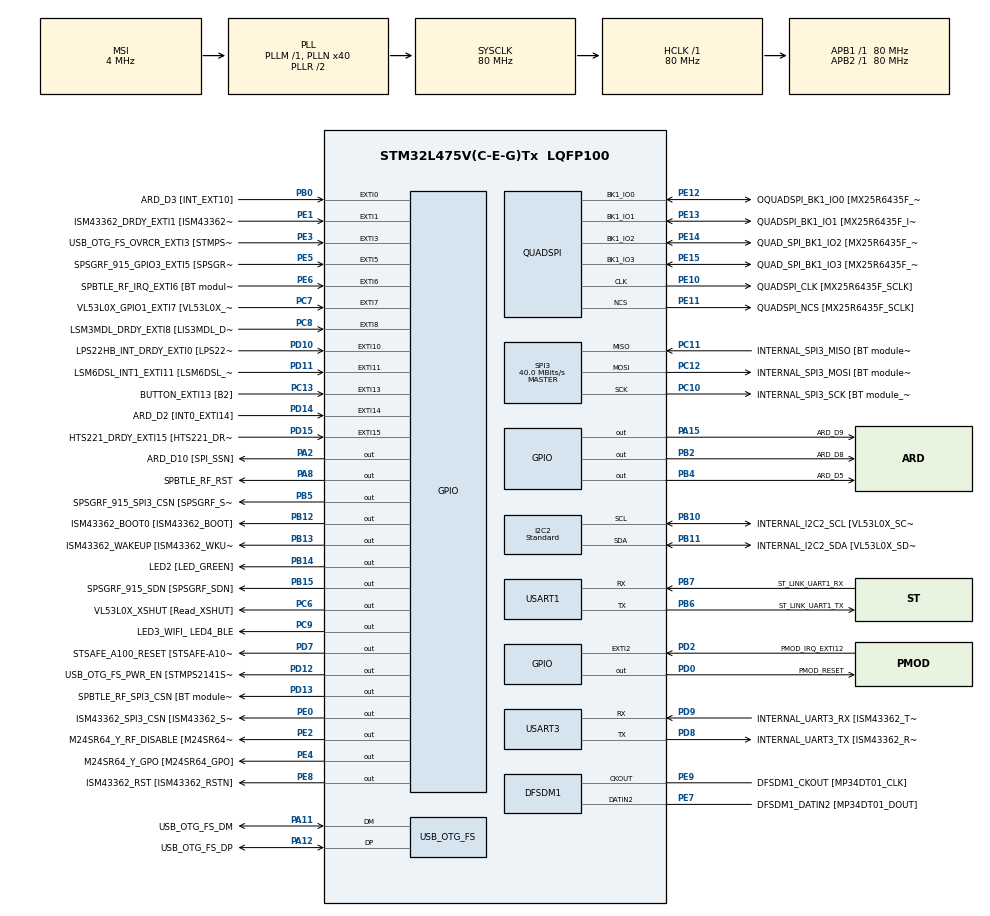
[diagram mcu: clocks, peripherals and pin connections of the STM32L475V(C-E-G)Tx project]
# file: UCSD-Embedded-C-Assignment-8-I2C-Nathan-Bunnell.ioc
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PD12.GPIO_Label=USB_OTG_FS_PWR_EN [STMPS2141STR_EN]
SPI3.Direction=SPI_DIRECTION_2LINES
SPI3.VirtualType=VM_MASTER
QUADSPI.ClockPrescaler=2
PB10.Mode=I2C
PC12.Signal=SPI3_MOSI
PB14.GPIO_Label=LED2 [LED_GREEN]
PC6.GPIO_Label=VL53L0X_XSHUT [Read_XSHUT]
PA6.GPIO_Label=ARD_D12 [SPI1_MISO]
PB6.GPIO_Label=ST_LINK_UART1_TX
PA15\ (JTDI).Signal=GPIO_Output
PC15-OSC32_OUT\ (PC15).Mode=LSE-External-Oscillator
PB13.Signal=GPIO_Output
PD6.GPIO_Label=PMOD_UART2_RX
PE6.GPIO_Label=SPBTLE_RF_IRQ_EXTI6 [BT module_SPI_IRQ]
RCC.SYSCLKSource=RCC_SYSCLKSOURCE_PLLCLK
PC14-OSC32_IN\ (PC14).Mode=LSE-External-Oscillator
SH.ADCx_IN16.0=ADC1_IN16
USART3.VirtualMode-Asynchronous=VM_ASYNC
PA14\ (JTCK-SWCLK).Signal=SYS_JTCK-SWCLK
PD4.Signal=USART2_RTS
I2C2.I2C_Speed_Mode=I2C_Standard
RCC.APB2TimFreq_Value=80000000
Dma.I2C2_TX.0.MemDataAlignment=DMA_MDATAALIGN_BYTE
PB6.Signal=USART1_TX
PC7.Signal=GPXTI7
PB6.Mode=Asynchronous
PC3.Signal=ADCx_IN4
PD0.Signal=GPIO_Output
PD8.Signal=USART3_TX
PE5.Signal=GPXTI5
PE1.Signal=GPXTI1
QUADSPI.FlashSize=23
Dma.I2C2_RX.1.Mode=DMA_NORMAL
NVIC.EXTI15_10_IRQn=true\:0\:0\:false\:false\:true\:true\:true
PB2.Signal=GPIO_Output
PD1.GPIO_Label=PMOD_SPI2_SCK
PB12.GPIO_Label=ISM43362_BOOT0 [ISM43362_BOOT]
PC4.GPIO_Label=ARD_A1 [ADC]
PE9.Signal=S_CKOUTDFSDM1
PB1.GPIO_Label=ARD_D6 [ADC1_IN6]
PE4.GPIO_Label=M24SR64_Y_GPO [M24SR64_GPO]
PE2.Signal=GPIO_Output
PA8.Signal=GPIO_Output
PE13.Mode=Single Bank
PE10.Signal=QUADSPI_CLK
PA0.Signal=UART4_TX
Mcu.Package=LQFP100
PB9.Signal=I2C1_SDA
PB1.Signal=ADCx_IN16
SPI3.Mode=SPI_MODE_MASTER
SH.ADCx_IN14.0=ADC1_IN14
PD12.Signal=GPIO_Output
PA10.Signal=USB_OTG_FS_ID
PE12.GPIO_Label=OQUADSPI_BK1_IO0 [MX25R6435F_IO0]
PC11.Mode=Full_Duplex_Master
Dma.I2C2_TX.0.Direction=DMA_MEMORY_TO_PERIPH
SH.ADCx_IN9.0=ADC1_IN9
Dma.I2C2_RX.1.PeriphInc=DMA_PINC_DISABLE
RCC.APB1TimFreq_Value=80000000
Dma.I2C2_RX.1.MemDataAlignment=DMA_MDATAALIGN_BYTE
NVIC.DMA1_Channel4_IRQn=true\:0\:0\:false\:false\:true\:false\:true
PA13\ (JTMS-SWDIO).Signal=SYS_JTMS-SWDIO
PE10.GPIO_Label=QUADSPI_CLK [MX25R6435F_SCLK]
PA4.GPIO_Label=ARD_D7
PD15.Signal=GPXTI15
PE12.Mode=Single Bank
Dma.I2C2_TX.0.Mode=DMA_NORMAL
PD9.GPIO_Label=INTERNAL_UART3_RX [ISM43362_TX]
PA9.GPIO_Label=USB_OTG_FS_VBUS [STMPS2141STR_OUT]
PC13.Signal=GPXTI13
PD3.Signal=USART2_CTS
PC6.Signal=GPIO_Output
PE10.Mode=Single Bank
PC2.Signal=ADCx_IN3
PB11.GPIO_Label=INTERNAL_I2C2_SDA [VL53L0X_SDA]
PD7.Signal=GPIO_Output
PD1.Signal=SPI2_SCK
PA11.GPIO_Label=USB_OTG_FS_DM
PC0.Signal=ADCx_IN1
PD10.Signal=GPXTI10
PB8.GPIO_Label=ARD_D15 [I2C1_SCL]
PA8.GPIO_Label=SPBTLE_RF_RST
PB11.Mode=I2C
PE8.GPIO_Label=ISM43362_RST [ISM43362_RSTN]
PA9.Signal=USB_OTG_FS_VBUS
PE9.GPIO_Label=DFSDM1_CKOUT [MP34DT01_CLK]
PD8.Mode=Asynchronous
PB10.Signal=I2C2_SCL
PB14.Signal=GPIO_Output
Dma.I2C2_RX.1.Instance=DMA1_Channel5
PA5.Signal=SPI1_SCK
PC12.Mode=Full_Duplex_Master
PE1.GPIO_Label=ISM43362_DRDY_EXTI1 [ISM43362_DATARDY]
PE14.Signal=QUADSPI_BK1_IO2
PE15.Signal=QUADSPI_BK1_IO3
Dma.I2C2_RX.1.Direction=DMA_PERIPH_TO_MEMORY
PB15.GPIO_Label=SPSGRF_915_SDN [SPSGRF_SDN]
PE8.Signal=GPIO_Output
Dma.I2C2_TX.0.Instance=DMA1_Channel4
PA1.GPIO_Label=ARD_D0 [UART4_RX]
SH.ADCx_IN4.0=ADC1_IN4
QUADSPI.FifoThreshold=4
PC7.GPIO_Label=VL53L0X_GPIO1_EXTI7 [VL53L0X_GPIO1]
PA13\ (JTMS-SWDIO).Mode=Serial_Wire
PA4.Signal=ADCx_IN9
PB5.Signal=GPIO_Output
PE13.GPIO_Label=QUADSPI_BK1_IO1 [MX25R6435F_IO1]
PA5.GPIO_Label=ARD_D13 [SPI1_SCK]
PD11.Signal=GPXTI11
PE5.GPIO_Label=SPSGRF_915_GPIO3_EXTI5 [SPSGRF_GPIO_3]
PC12.GPIO_Label=INTERNAL_SPI3_MOSI [BT module_SPI_MOSI] [ISM43362_MOSI]
PA11.Signal=USB_OTG_FS_DM
ProjectManager.HeapSize=0x200
NVIC.PriorityGroup=NVIC_PRIORITYGROUP_4
PE3.Signal=GPXTI3
PC3.GPIO_Label=ARD_A2 [ADC]
PB4\ (NJTRST).GPIO_Label=ARD_D5
Dma.I2C2_TX.0.MemInc=DMA_MINC_ENABLE
PD2.Signal=GPXTI2
PB0.Signal=GPXTI0
PC1.Signal=ADCx_IN2
PD2.GPIO_Label=PMOD_IRQ_EXTI12
PE15.Mode=Single Bank
Mcu.Family=STM32L4
RCC.CortexFreq_Value=80000000
NVIC.DMA1_Channel5_IRQn=true\:0\:0\:false\:false\:true\:false\:true
Dma.I2C2_TX.0.Priority=DMA_PRIORITY_LOW
PE11.GPIO_Label=QUADSPI_NCS [MX25R6435F_SCLK]
SH.ADCx_IN2.0=ADC1_IN2
PC10.Signal=SPI3_SCK
I2C2.Timing=0x10909CEC
PA0.GPIO_Label=ARD_D1 [UART4_TX]
PC0.GPIO_Label=ARD_A5 [ADC]
PD0.GPIO_Label=PMOD_RESET
PA11.Mode=Device_Only
PB0.GPIO_Label=ARD_D3 [INT_EXT10]
PC13.GPIO_Label=BUTTON_EXTI13 [B2]
PB13.GPIO_Label=ISM43362_WAKEUP [ISM43362_WKUP]
PB11.Signal=I2C2_SDA
PB15.Signal=GPIO_Output
PD9.Mode=Asynchronous
ProjectManager.StackSize=0x400
PB3\ (JTDO-TRACESWO).Signal=SYS_JTDO-SWO
PD13.Signal=GPIO_Output
PA12.Signal=USB_OTG_FS_DP
PE11.Mode=Single Bank
PD11.GPIO_Label=LSM6DSL_INT1_EXTI11 [LSM6DSL_INT1]
RCC.HCLKFreq_Value=80000000
SH.ADCx_IN3.0=ADC1_IN3
Dma.I2C2_RX.1.MemInc=DMA_MINC_ENABLE
PB5.PinState=GPIO_PIN_SET
RCC.AHBFreq_Value=80000000
RCC.HSE_VALUE=8000000
PE13.Signal=QUADSPI_BK1_IO1
PC11.GPIO_Label=INTERNAL_SPI3_MISO [BT module_SPI_MISO] [ISM43362_MISO]
PA10.GPIO_Label=USB_OTG_FS_ID
PB7.Signal=USART1_RX
PE4.Signal=GPIO_Output
QUADSPI.SampleShifting=QSPI_SAMPLE_SHIFTING_HALFCYCLE
PD7.GPIO_Label=STSAFE_A100_RESET [STSAFE-A100_RESET]
PB7.GPIO_Label=ST_LINK_UART1_RX
PD13.GPIO_Label=SPBTLE_RF_SPI3_CSN [BT module_SPI_CS]
PA6.Signal=SPI1_MISO
PD5.GPIO_Label=PMOD_UART2_TX
PA2.GPIO_Label=ARD_D10 [SPI_SSN]
USB_OTG_FS.VirtualMode=Device_Only
PE0.GPIO_Label=ISM43362_SPI3_CSN [ISM43362_SSN]
SH.ADCx_IN1.0=ADC1_IN1
PB5.GPIO_Label=SPSGRF_915_SPI3_CSN [SPSGRF_SPI_CS]
Dma.Request1=I2C2_RX
PC5.Signal=ADCx_IN14
PD3.GPIO_Label=PMOD_UART2_CTS
PE7.Signal=S_DATAIN2DFSDM1
PD6.Signal=USART2_RX
Dma.Request0=I2C2_TX
PE2.GPIO_Label=M24SR64_Y_RF_DISABLE [M24SR64_RFDIS]
PC2.GPIO_Label=ARD_A3 [ADC]
RCC.PLLSAI1N=24
PA3.Signal=S_TIM2_CH4
RCC.MSI_VALUE=4000000
PA14\ (JTCK-SWCLK).Mode=Serial_Wire
SH.ADCx_IN13.0=ADC1_IN13
PD15.GPIO_Label=HTS221_DRDY_EXTI15 [HTS221_DRDY]
PB9.GPIO_Label=ARD_D14 [I2C1_SDA]
PC10.GPIO_Label=INTERNAL_SPI3_SCK [BT module_SPI_SCLK] [ISM43362_SCK]
PC9.GPIO_Label=LED3_WIFI_ LED4_BLE
PC11.Signal=SPI3_MISO
PC8.Signal=GPXTI8
PC4.Signal=ADCx_IN13
PC10.Mode=Full_Duplex_Master
SH.S_DATAIN2DFSDM1.0=DFSDM1_DATIN2,PDM_SPI_Input_from_ch12_and_Internal_Clock
PE14.GPIO_Label=QUAD_SPI_BK1_IO2 [MX25R6435F_IO2]
PC15-OSC32_OUT\ (PC15).Signal=RCC_OSC32_OUT
PD9.Signal=USART3_RX
PD5.Signal=USART2_TX
PA14\ (JTCK-SWCLK).GPIO_Label=SYS_JTCK_SWCLK
PB3\ (JTDO-TRACESWO).GPIO_Label=SYS_JTD0_SWO
Dma.I2C2_TX.0.PeriphInc=DMA_PINC_DISABLE
PA12.GPIO_Label=USB_OTG_FS_DP
PD8.GPIO_Label=INTERNAL_UART3_TX [ISM43362_RX]
PC8.GPIO_Label=LSM3MDL_DRDY_EXTI8 [LIS3MDL_DRDY]
USART1.VirtualMode-Asynchronous=VM_ASYNC
PE0.PinState=GPIO_PIN_SET
PE15.GPIO_Label=QUAD_SPI_BK1_IO3 [MX25R6435F_IO3]
ProjectManager.TargetToolchain=STM32CubeIDE
PB10.GPIO_Label=INTERNAL_I2C2_SCL [VL53L0X_SCL]
RCC.USBFreq_Value=48000000
PD10.GPIO_Label=LPS22HB_INT_DRDY_EXTI0 [LPS22HB_INT_DRDY] 
PE11.Signal=QUADSPI_NCS
PA1.Signal=UART4_RX
Dma.I2C2_RX.1.PeriphDataAlignment=DMA_PDATAALIGN_BYTE
board=B-L475E-IOT01A1
RCC.VCOOutputFreq_Value=160000000
RCC.APB2Freq_Value=80000000
SPI3.CalculateBaudRate=40.0 MBits/s
PA13\ (JTMS-SWDIO).GPIO_Label=SYS_JTMS_SWDIO
PD4.GPIO_Label=PMOD_UART2_RTS
PE14.Mode=Single Bank
SH.S_CKOUTDFSDM1.0=DFSDM1_CKOUT,CKOUT
SH.S_CKOUTDFSDM1.1=DFSDM1_CKOUT,PDM_SPI_Input_from_ch12_and_Internal_Clock
RCC.ADCFreq_Value=48000000
PC1.GPIO_Label=ARD_A4 [ADC]
PD14.GPIO_Label=ARD_D2 [INT0_EXTI14]
PE6.Signal=GPXTI6
PA15\ (JTDI).GPIO_Label=ARD_D9
I2C2.Speed=100
Mcu.Name=STM32L475V(C-E-G)Tx
PE0.Signal=GPIO_Output
PE7.GPIO_Label=DFSDM1_DATIN2 [MP34DT01_DOUT]
PE12.Signal=QUADSPI_BK1_IO0
PA2.Signal=GPIO_Output
PD14.Signal=GPXTI14
RCC.SYSCLKFreq_VALUE=80000000
PA7.GPIO_Label=ARD_D11 [SPI1_MOSI]
PA12.Mode=Device_Only
PC13.GPIO_ModeDefaultEXTI=GPIO_MODE_IT_FALLING
PC5.GPIO_Label=ARD_A0 [ADC]
PC14-OSC32_IN\ (PC14).Signal=RCC_OSC32_IN
PB7.Mode=Asynchronous
NVIC.EXTI9_5_IRQn=true\:0\:0\:false\:false\:true\:true\:true
PB2.GPIO_Label=ARD_D8
SH.S_TIM2_CH4.0=TIM2_CH4
NVIC.I2C2_EV_IRQn=true\:0\:0\:false\:false\:true\:true\:true
RCC.HSI_VALUE=16000000
RCC.PLLN=40
Dma.I2C2_TX.0.PeriphDataAlignment=DMA_PDATAALIGN_BYTE
PB8.Signal=I2C1_SCL
PE3.GPIO_Label=USB_OTG_FS_OVRCR_EXTI3 [STMPS2141STR_FAULT]
PC9.Signal=GPIO_Output
Dma.I2C2_RX.1.Priority=DMA_PRIORITY_LOW
PD13.PinState=GPIO_PIN_SET
RCC.APB1Freq_Value=80000000
PB12.Signal=GPIO_Output
PA3.GPIO_Label=ARD_D4
PA7.Signal=SPI1_MOSI
PB4\ (NJTRST).Signal=GPIO_Output

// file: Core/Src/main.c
/* USER CODE BEGIN Header */
/**
  ******************************************************************************
  * @file           : main.c
  * @brief          : Main program body
  ******************************************************************************
  * @attention
  *
  * <h2><center>&copy; Copyright (c) 2021 STMicroelectronics.
  * All rights reserved.</center></h2>
  *
  * This software component is licensed by ST under BSD 3-Clause license,
  * the "License"; You may not use this file except in compliance with the
  * License. You may obtain a copy of the License at:
  *                        opensource.org/licenses/BSD-3-Clause
  *
  ******************************************************************************
  */
/* USER CODE END Header */
#include "main.h"

/* USER CODE BEGIN Includes */

#include <stdio.h>
#include <string.h>

/* USER CODE END Includes */

/* USER CODE BEGIN PD */

// Define R/W addresses for temp sensor
#define HTS221_READ_ADDRESS 0xbf
#define HTS221_WRITE_ADDRESS 0xbe
#define LPS22HB_READ_ADDRESS 0xbb
#define LPS22HB_WRITE_ADDRESS 0xba

/* USER CODE END PD */

DFSDM_Channel_HandleTypeDef hdfsdm1_channel1;

I2C_HandleTypeDef hi2c2;
DMA_HandleTypeDef hdma_i2c2_tx;
DMA_HandleTypeDef hdma_i2c2_rx;

QSPI_HandleTypeDef hqspi;

SPI_HandleTypeDef hspi3;

UART_HandleTypeDef huart1;
UART_HandleTypeDef huart3;

PCD_HandleTypeDef hpcd_USB_OTG_FS;

/* USER CODE BEGIN PV */

// Global calibration variable declarations
uint8_t H0_rH_Value;
uint8_t H1_rH_Value;
int16_t H0_T0_OUT_Value;
int16_t H1_T0_OUT_Value;

uint8_t T0_degC_Value;
uint8_t T1_degC_Value;
uint8_t T0_degC;
uint8_t T1_degC;
int16_t T0_OUT_Value;
int16_t T1_OUT_Value;

/* USER CODE END PV */

void SystemClock_Config(void);
static void MX_GPIO_Init(void);
static void MX_DMA_Init(void);
static void MX_DFSDM1_Init(void);
static void MX_I2C2_Init(void);
static void MX_QUADSPI_Init(void);
static void MX_SPI3_Init(void);
static void MX_USART1_UART_Init(void);
static void MX_USART3_UART_Init(void);
static void MX_USB_OTG_FS_PCD_Init(void);
/* USER CODE BEGIN PFP */

static void HTS221_pwr_en(void);
static void HTS221_get_cal_data(void);
static void HTS221_get_sensor_data(void);
static void LPS22HB_get_sensor_data(void);

/* USER CODE END PFP */

/* USER CODE BEGIN 0 */

static void HTS221_pwr_en(void)
{
	// Configure control register 1 (CTRL_REG1, 0x20) bit 7 to enable one-shot
    uint8_t ctrlReg1 = 0x20;
    uint8_t CTRL_REG2_Value[] = {ctrlReg1, (1 << 7)};

    // Send the target register to the device
    HAL_I2C_Master_Transmit(&hi2c2, HTS221_WRITE_ADDRESS, CTRL_REG2_Value, sizeof(CTRL_REG2_Value), 1000);

}

static void HTS221_get_cal_data(void)
{
    /*****************************************************************************************************************/
    // Request humidity and temperature calibration data stored in registers 0x30 to 0x3F
    // Reference pg. 26 of data sheet (https://www.st.com/resource/en/datasheet/hts221.pdf)
    //   for register names and definitions
    // Reference tech note TN1218 on calibration procedures
    // https://www.st.com/resource/en/technical_note/dm00208001-interpreting-humidity-and-temperature-readings-in-the-hts221-digital-humidity-sensor-stmicroelectronics.pdf

    /*****************************************************************************************************************/
    // Humidity calibration values

    // Register H0_rh_x2, address 0x30. Divide register value by 2 for calibration value
    uint8_t H0_rH_Address = 0x30;
	HAL_I2C_Master_Transmit(&hi2c2, HTS221_WRITE_ADDRESS, &H0_rH_Address, sizeof(H0_rH_Address), 1000);
	H0_rH_Value = 0xff; // Junk default value
	HAL_I2C_Master_Receive(&hi2c2, HTS221_READ_ADDRESS, (uint8_t *)&H0_rH_Value, sizeof(H0_rH_Value), 1000);
	H0_rH_Value = H0_rH_Value / 2;

	// Register H1_rh_x2, address 0x31. Divide register value by 2 for calibration value
	uint8_t H1_rH_Address = 0x31;
	HAL_I2C_Master_Transmit(&hi2c2, HTS221_WRITE_ADDRESS, &H1_rH_Address, sizeof(H1_rH_Address), 1000);
	H1_rH_Value = 0xff; // Junk default value
	HAL_I2C_Master_Receive(&hi2c2, HTS221_READ_ADDRESS, (uint8_t *)&H1_rH_Value, sizeof(H1_rH_Value), 1000);
	H1_rH_Value = H1_rH_Value / 2;

	// Register H0_T0_OUT, addresses 0x36 and 0x37
	uint8_t H0_T0_OUT_Address = 0x36 | 0x80;
	HAL_I2C_Master_Transmit(&hi2c2, HTS221_WRITE_ADDRESS, &H0_T0_OUT_Address, sizeof(H0_T0_OUT_Address), 1000);
	H0_T0_OUT_Value = 0xffff; // Junk default value
	HAL_I2C_Master_Receive(&hi2c2, HTS221_READ_ADDRESS, (uint8_t *)&H0_T0_OUT_Value, sizeof(H0_T0_OUT_Value), 1000);

	// Register H1_T0_OUT, addresses 0x3A and 0x3B
	uint8_t H1_T0_OUT_Address = 0x3A | 0x80;
	HAL_I2C_Master_Transmit(&hi2c2, HTS221_WRITE_ADDRESS, &H1_T0_OUT_Address, sizeof(H1_T0_OUT_Address), 1000);
	H1_T0_OUT_Value = 0xffff; // Junk default value
	HAL_I2C_Master_Receive(&hi2c2, HTS221_READ_ADDRESS, (uint8_t *)&H1_T0_OUT_Value, sizeof(H1_T0_OUT_Value), 1000);

    /*****************************************************************************************************************/
    // Temperature calibration values

    // Register T0_degC_x8, address 0x32. Divide register value by 8 for calibration value
    uint8_t T0_degC_Address = 0x32;
	HAL_I2C_Master_Transmit(&hi2c2, HTS221_WRITE_ADDRESS, &T0_degC_Address, sizeof(T0_degC_Address), 1000);
	T0_degC_Value = 0xff; // Junk default value
	HAL_I2C_Master_Receive(&hi2c2, HTS221_READ_ADDRESS, (uint8_t *)&T0_degC_Value, sizeof(T0_degC_Value), 1000);
	T0_degC_Value = T0_degC_Value / 8;

    // Register T1_degC_x8, address 0x33. Divide register value by 8 for calibration value
    uint8_t T1_degC_Address = 0x33;
	HAL_I2C_Master_Transmit(&hi2c2, HTS221_WRITE_ADDRESS, &T1_degC_Address, sizeof(T1_degC_Address), 1000);
	T1_degC_Value = 0xff; // Junk default value
	HAL_I2C_Master_Receive(&hi2c2, HTS221_READ_ADDRESS, (uint8_t *)&T1_degC_Value, sizeof(T1_degC_Value), 1000);
	T1_degC_Value = T1_degC_Value / 8;

    // Register T1/T0 msb, address 0x35. Mask bits (0 & 1), (2 & 3) to get values of T0_degC & T1_degC
    uint8_t T1_T0_msb_Address = 0x35;
	HAL_I2C_Master_Transmit(&hi2c2, HTS221_WRITE_ADDRESS, &T1_T0_msb_Address, sizeof(T1_T0_msb_Address), 1000);
	uint8_t T1_T0_msb_Value = 0xff; // Junk default value
	HAL_I2C_Master_Receive(&hi2c2, HTS221_READ_ADDRESS, (uint8_t *)&T1_T0_msb_Value, sizeof(T1_T0_msb_Value), 1000);
	T0_degC = (T1_T0_msb_Value && (0b0011));
    T1_degC = (T1_T0_msb_Value && (0b1100));

    // Register T0_OUT, addresses 0x3C and 0x3D
	uint8_t T0_OUT_Address = 0x3C | 0x80;
	HAL_I2C_Master_Transmit(&hi2c2, HTS221_WRITE_ADDRESS, &T0_OUT_Address, sizeof(T0_OUT_Address), 1000);
	T0_OUT_Value = 0xffff; // Junk default value
	HAL_I2C_Master_Receive(&hi2c2, HTS221_READ_ADDRESS, (uint8_t *)&T0_OUT_Value, sizeof(T0_OUT_Value), 1000);

    // Register T1_OUT, addresses 0x3C and 0x3D
	uint8_t T1_OUT_Address = 0x3C | 0x80;
	HAL_I2C_Master_Transmit(&hi2c2, HTS221_WRITE_ADDRESS, &T1_OUT_Address, sizeof(T1_OUT_Address), 1000);
	T1_OUT_Value = 0xffff; // Junk default value
	HAL_I2C_Master_Receive(&hi2c2, HTS221_READ_ADDRESS, (uint8_t *)&T1_OUT_Value, sizeof(T1_OUT_Value), 1000);

}

static void HTS221_get_sensor_data(void)
{
    // Large char buffer for strings sent over the console
    char buffer[100] = {0};

	// Configure control register 2 (CTRL_REG2, 0x21) bit 0 to enable one-shot
    uint8_t CTRL_REG2_Address = 0x21;
    uint8_t CTRL_REG2_Value[] = {CTRL_REG2_Address, (1 << 0)};

    // Send the target register to the device
    HAL_I2C_Master_Transmit(&hi2c2, HTS221_WRITE_ADDRESS, CTRL_REG2_Value, sizeof(CTRL_REG2_Value), 1000);

    // Define status register (STATUS_REG2, 0x27) bit 0 to monitor for new sample available
    uint8_t STATUS_Address = 0x27;
    uint8_t STATUS_Value = 0;

    // Print status message to console
	snprintf(buffer, sizeof(buffer), "\tRequesting new sample...");
	HAL_UART_Transmit(&huart1, (uint8_t*) buffer, strlen(buffer), 1000);

    // Loiter for a bit to allow time for conversion to complete and be made available
    uint8_t count = 0;
    while (count < 10)  // arbitrary "long enough" delay value
    {
        // Send the address of the status register
        HAL_I2C_Master_Transmit(&hi2c2, HTS221_WRITE_ADDRESS, &STATUS_Address, sizeof(STATUS_Address), 1000);

        // Read back the value of the status register
        HAL_I2C_Master_Receive(&hi2c2, HTS221_READ_ADDRESS, (uint8_t *)&STATUS_Value, sizeof(STATUS_Value), 1000);

        // If the new sample is ready, break out of while-loop...
        if (STATUS_Value & 0x01)
        {
            break;
        }

        // Update status message on console with '.' to indicate processing
		snprintf(buffer, sizeof(buffer), ".");
		HAL_UART_Transmit(&huart1, (uint8_t*) buffer, strlen(buffer), 1000);

        // Else wait for a bit, increment the counter, and keep looping
        HAL_Delay(100);
        count++;
    }

    // Read the values of the humidity register H_OUT, address 0x28 and 0x29
	uint8_t H_OUT_Address = 0x28 | 0x80;
	HAL_I2C_Master_Transmit(&hi2c2, HTS221_WRITE_ADDRESS, &H_OUT_Address, sizeof(H_OUT_Address), 1000);
	int16_t H_OUT_Value = 0xbeef; // Junk default value
	HAL_I2C_Master_Receive(&hi2c2, HTS221_READ_ADDRESS, (uint8_t *)&H_OUT_Value, sizeof(H_OUT_Value), 1000);

	// Calculate and print value of humidity in %rH.
	int16_t humidityValue = (((H1_rH_Value - H0_rH_Value) * (H_OUT_Value - H0_T0_OUT_Value))/(H1_T0_OUT_Value - H0_T0_OUT_Value)) + (H0_rH_Value);
	snprintf(buffer, sizeof(buffer), "\n\tHumidity: %d%%rH\n", humidityValue);
	HAL_UART_Transmit(&huart1, (uint8_t*) buffer, strlen(buffer), 1000);

	// Read the values of the temperature register T_OUT, address 0x2A and 0x2B
	uint8_t T_OUT_Address = 0x28 | 0x80;
	HAL_I2C_Master_Transmit(&hi2c2, HTS221_WRITE_ADDRESS, &T_OUT_Address, sizeof(T_OUT_Address), 1000);
	int16_t T_OUT_Value = 0xbeef; // Junk default value
	HAL_I2C_Master_Receive(&hi2c2, HTS221_READ_ADDRESS, (uint8_t *)&T_OUT_Value, sizeof(T_OUT_Value), 1000);

    // Calculate and print value of temperature in degC.
	int16_t temperatureValue = (((T1_degC_Value - T0_degC_Value) * (T_OUT_Value - T0_OUT_Value))/(T1_OUT_Value - T0_OUT_Value)) + (T0_degC_Value);
	snprintf(buffer, sizeof(buffer), "\tTemperature: %ddegC\n", temperatureValue);
	HAL_UART_Transmit(&huart1, (uint8_t*) buffer, strlen(buffer), 1000);

}

static void LPS22HB_get_sensor_data(void)
{
	/*****************************************************************************************************************/
	// To read from the on-board pressure sensor, we will configure the control registers to one-shot mode and then
	//   read the pressure value in three byte-sized chunks, shifting them into a 32-bit word that is then converted
	//   to units of hPa, as described in the module datasheet, https://www.st.com/resource/en/datasheet/dm00140895.pdf
	/*****************************************************************************************************************/

	// Large char buffer for strings sent over the console
	char buffer[100] = {0};

	// Register CTRL_REG2, address 0x11. Configures sensor module for one-shot mode
	uint8_t CTRL_REG2_Address = 0x11;
	uint8_t CTRL_REG2_Value[] = {CTRL_REG2_Address, (1 << 0)};
	HAL_I2C_Master_Transmit(&hi2c2, LPS22HB_WRITE_ADDRESS, CTRL_REG2_Value, sizeof(CTRL_REG2_Value), 1000);

	// Register STATUS, address 0x27. Bit 0 to monitor for new pressure sample available
	uint8_t STATUS_Address = 0x27;
	uint8_t STATUS_Value = 0;

	// Print status message to console
	snprintf(buffer, sizeof(buffer), "\tRequesting new sample...");
	HAL_UART_Transmit(&huart1, (uint8_t*) buffer, strlen(buffer), 1000);

	// Loiter for a bit to allow time for conversion to complete and be made available
	while (1)
	{
		// Send the address of the status register
		HAL_I2C_Master_Transmit(&hi2c2, LPS22HB_WRITE_ADDRESS, &STATUS_Address, sizeof(STATUS_Address), 1000);

		// Read back the value of the status register
		HAL_I2C_Master_Receive(&hi2c2, LPS22HB_READ_ADDRESS, (uint8_t *)&STATUS_Value, sizeof(STATUS_Value), 1000);

		// If the new sample is ready, break out of while-loop...
		if (STATUS_Value & 0x01)
		{
			break;
		}

		// Update status message on console with '.' to indicate processing
		snprintf(buffer, sizeof(buffer), ".");
		HAL_UART_Transmit(&huart1, (uint8_t*) buffer, strlen(buffer), 1000);

		// Else wait for a bit, increment the counter, and keep looping
		HAL_Delay(100);
	}

	// Register PRESS_OUT_XL, address 0x28. Pressure output value (LSB)
	uint8_t PRESS_OUT_XL_Address = 0x28;
	HAL_I2C_Master_Transmit(&hi2c2, LPS22HB_WRITE_ADDRESS, &PRESS_OUT_XL_Address, sizeof(PRESS_OUT_XL_Address), 1000);
	uint8_t PRESS_OUT_XL_Value = 0xff; // Junk default value
	HAL_I2C_Master_Receive(&hi2c2, LPS22HB_READ_ADDRESS, (uint8_t *)&PRESS_OUT_XL_Value, sizeof(PRESS_OUT_XL_Value), 1000);

	// Register PRESS_OUT_L, address 0x29. Pressure output value (mid part)
	uint8_t PRESS_OUT_L_Address = 0x29;
	HAL_I2C_Master_Transmit(&hi2c2, LPS22HB_WRITE_ADDRESS, &PRESS_OUT_L_Address, sizeof(PRESS_OUT_L_Address), 1000);
	uint8_t PRESS_OUT_L_Value = 0xff; // Junk default value
	HAL_I2C_Master_Receive(&hi2c2, LPS22HB_READ_ADDRESS, (uint8_t *)&PRESS_OUT_L_Value, sizeof(PRESS_OUT_L_Value), 1000);

	// Register PRESS_OUT_XL, address 0x2A. Pressure output value (MSB)
	uint8_t PRESS_OUT_H_Address = 0x2A;
	HAL_I2C_Master_Transmit(&hi2c2, LPS22HB_WRITE_ADDRESS, &PRESS_OUT_H_Address, sizeof(PRESS_OUT_H_Address), 1000);
	uint8_t PRESS_OUT_H_Value = 0xff; // Junk default value
	HAL_I2C_Master_Receive(&hi2c2, LPS22HB_READ_ADDRESS, (uint8_t *)&PRESS_OUT_H_Value, sizeof(PRESS_OUT_H_Value), 1000);

	// Variable to hold raw pressure output from sensor. Shift each PRESS_OUT_x variable in as directed in datasheet
	uint32_t PRESS_OUT_Value = (PRESS_OUT_XL_Value << 0);
	PRESS_OUT_Value = PRESS_OUT_Value | (PRESS_OUT_L_Value << 8);
	PRESS_OUT_Value = PRESS_OUT_Value | (PRESS_OUT_H_Value << 16);

	// Divide by 4096 as per datasheet to get units hPa and print results to console
	uint32_t pressureValue = PRESS_OUT_Value / 4096;
	snprintf(buffer, sizeof(buffer), "\n\tPressure: %luhPa\n", pressureValue);
	HAL_UART_Transmit(&huart1, (uint8_t*) buffer, strlen(buffer), 1000);

}

/* USER CODE END 0 */

int main(void)
{

  /* MCU Configuration--------------------------------------------------------*/

  /* Reset of all peripherals, Initializes the Flash interface and the Systick. */
  HAL_Init();

  /* Configure the system clock */
  SystemClock_Config();

  /* Initialize all configured peripherals */
  MX_GPIO_Init();
  MX_DMA_Init();
  MX_DFSDM1_Init();
  MX_I2C2_Init();
  MX_QUADSPI_Init();
  MX_SPI3_Init();
  MX_USART1_UART_Init();
  MX_USART3_UART_Init();
  MX_USB_OTG_FS_PCD_Init();
  /* USER CODE BEGIN 2 */

  // Enable the HTS221 PD bit in CR1 to allow collection of samples
  HTS221_pwr_en();

  // Get the calibration data stored in the HTS221 non-volatile memory
  HTS221_get_cal_data();

  // Header info for CLI
  char* cliHeader = "\nsimpleCLI Interface v0.4\n------------------------------\n";
  HAL_UART_Transmit(&huart1, (uint8_t*) cliHeader, strlen(cliHeader), 1000);

  /* USER CODE END 2 */

  /* Infinite loop */
  while (1)
  {

    /* USER CODE BEGIN 3 */
	  // Define strings to structure prompt around
	  char* cliPrompt = "Options:\n\t1: HTS221 read\n\t2: LPS22HB read\n\t3: RTC read (not implemented)\r\n$> ";
	  char* cliResponse = "Invalid input!\r\n";

	  // Issue prompt
	  HAL_UART_Transmit(&huart1, (uint8_t*) cliPrompt, strlen(cliPrompt), 1000);

	  // Get the user selection and echo it on the terminal
	  char cliInput;
	  HAL_UART_Receive(&huart1, (uint8_t*) &cliInput, 1, HAL_MAX_DELAY);
	  HAL_UART_Transmit(&huart1, (uint8_t*) &cliInput, 1, 1000);

	  // Evaluate input
	  switch (cliInput)
	  {
		case '1':
			cliResponse = "\r\nHTS221 read request:\n";
			HAL_UART_Transmit(&huart1, (uint8_t*) cliResponse, strlen(cliResponse), 1000);
			HTS221_get_sensor_data();
			break;

		case '2':
			cliResponse = "\r\nLPS22HB read request\n";
			HAL_UART_Transmit(&huart1, (uint8_t*) cliResponse, strlen(cliResponse), 1000);
			LPS22HB_get_sensor_data();
			break;

		case '3':
			cliResponse = "\r\nRTC read *not implemented*\n";
			HAL_UART_Transmit(&huart1, (uint8_t*) cliResponse, strlen(cliResponse), 1000);
			// TBD()
			break;

		default:
			HAL_UART_Transmit(&huart1, (uint8_t*) cliResponse, strlen(cliResponse), 1000);
			break;
	  }

  }
  /* USER CODE END 3 */
}

void SystemClock_Config(void)
{
  RCC_OscInitTypeDef RCC_OscInitStruct = {0};
  RCC_ClkInitTypeDef RCC_ClkInitStruct = {0};
  RCC_PeriphCLKInitTypeDef PeriphClkInit = {0};

  /** Configure LSE Drive Capability
  */
  HAL_PWR_EnableBkUpAccess();
  __HAL_RCC_LSEDRIVE_CONFIG(RCC_LSEDRIVE_LOW);
  /** Initializes the RCC Oscillators according to the specified parameters
  * in the RCC_OscInitTypeDef structure.
  */
  RCC_OscInitStruct.OscillatorType = RCC_OSCILLATORTYPE_LSE|RCC_OSCILLATORTYPE_MSI;
  RCC_OscInitStruct.LSEState = RCC_LSE_ON;
  RCC_OscInitStruct.MSIState = RCC_MSI_ON;
  RCC_OscInitStruct.MSICalibrationValue = 0;
  RCC_OscInitStruct.MSIClockRange = RCC_MSIRANGE_6;
  RCC_OscInitStruct.PLL.PLLState = RCC_PLL_ON;
  RCC_OscInitStruct.PLL.PLLSource = RCC_PLLSOURCE_MSI;
  RCC_OscInitStruct.PLL.PLLM = 1;
  RCC_OscInitStruct.PLL.PLLN = 40;
  RCC_OscInitStruct.PLL.PLLP = RCC_PLLP_DIV7;
  RCC_OscInitStruct.PLL.PLLQ = RCC_PLLQ_DIV2;
  RCC_OscInitStruct.PLL.PLLR = RCC_PLLR_DIV2;
  if (HAL_RCC_OscConfig(&RCC_OscInitStruct) != HAL_OK)
  {
    Error_Handler();
  }
  /** Initializes the CPU, AHB and APB buses clocks
  */
  RCC_ClkInitStruct.ClockType = RCC_CLOCKTYPE_HCLK|RCC_CLOCKTYPE_SYSCLK
                              |RCC_CLOCKTYPE_PCLK1|RCC_CLOCKTYPE_PCLK2;
  RCC_ClkInitStruct.SYSCLKSource = RCC_SYSCLKSOURCE_PLLCLK;
  RCC_ClkInitStruct.AHBCLKDivider = RCC_SYSCLK_DIV1;
  RCC_ClkInitStruct.APB1CLKDivider = RCC_HCLK_DIV1;
  RCC_ClkInitStruct.APB2CLKDivider = RCC_HCLK_DIV1;

  if (HAL_RCC_ClockConfig(&RCC_ClkInitStruct, FLASH_LATENCY_4) != HAL_OK)
  {
    Error_Handler();
  }
  PeriphClkInit.PeriphClockSelection = RCC_PERIPHCLK_USART1|RCC_PERIPHCLK_USART3
                              |RCC_PERIPHCLK_I2C2|RCC_PERIPHCLK_DFSDM1
                              |RCC_PERIPHCLK_USB;
  PeriphClkInit.Usart1ClockSelection = RCC_USART1CLKSOURCE_PCLK2;
  PeriphClkInit.Usart3ClockSelection = RCC_USART3CLKSOURCE_PCLK1;
  PeriphClkInit.I2c2ClockSelection = RCC_I2C2CLKSOURCE_PCLK1;
  PeriphClkInit.Dfsdm1ClockSelection = RCC_DFSDM1CLKSOURCE_PCLK;
  PeriphClkInit.UsbClockSelection = RCC_USBCLKSOURCE_PLLSAI1;
  PeriphClkInit.PLLSAI1.PLLSAI1Source = RCC_PLLSOURCE_MSI;
  PeriphClkInit.PLLSAI1.PLLSAI1M = 1;
  PeriphClkInit.PLLSAI1.PLLSAI1N = 24;
  PeriphClkInit.PLLSAI1.PLLSAI1P = RCC_PLLP_DIV7;
  PeriphClkInit.PLLSAI1.PLLSAI1Q = RCC_PLLQ_DIV2;
  PeriphClkInit.PLLSAI1.PLLSAI1R = RCC_PLLR_DIV2;
  PeriphClkInit.PLLSAI1.PLLSAI1ClockOut = RCC_PLLSAI1_48M2CLK;
  if (HAL_RCCEx_PeriphCLKConfig(&PeriphClkInit) != HAL_OK)
  {
    Error_Handler();
  }
  /** Configure the main internal regulator output voltage
  */
  if (HAL_PWREx_ControlVoltageScaling(PWR_REGULATOR_VOLTAGE_SCALE1) != HAL_OK)
  {
    Error_Handler();
  }
  /** Enable MSI Auto calibration
  */
  HAL_RCCEx_EnableMSIPLLMode();
}

static void MX_DFSDM1_Init(void)
{

  hdfsdm1_channel1.Instance = DFSDM1_Channel1;
  hdfsdm1_channel1.Init.OutputClock.Activation = ENABLE;
  hdfsdm1_channel1.Init.OutputClock.Selection = DFSDM_CHANNEL_OUTPUT_CLOCK_SYSTEM;
  hdfsdm1_channel1.Init.OutputClock.Divider = 2;
  hdfsdm1_channel1.Init.Input.Multiplexer = DFSDM_CHANNEL_EXTERNAL_INPUTS;
  hdfsdm1_channel1.Init.Input.DataPacking = DFSDM_CHANNEL_STANDARD_MODE;
  hdfsdm1_channel1.Init.Input.Pins = DFSDM_CHANNEL_FOLLOWING_CHANNEL_PINS;
  hdfsdm1_channel1.Init.SerialInterface.Type = DFSDM_CHANNEL_SPI_RISING;
  hdfsdm1_channel1.Init.SerialInterface.SpiClock = DFSDM_CHANNEL_SPI_CLOCK_INTERNAL;
  hdfsdm1_channel1.Init.Awd.FilterOrder = DFSDM_CHANNEL_FASTSINC_ORDER;
  hdfsdm1_channel1.Init.Awd.Oversampling = 1;
  hdfsdm1_channel1.Init.Offset = 0;
  hdfsdm1_channel1.Init.RightBitShift = 0x00;
  if (HAL_DFSDM_ChannelInit(&hdfsdm1_channel1) != HAL_OK)
  {
    Error_Handler();
  }

}

static void MX_I2C2_Init(void)
{

  hi2c2.Instance = I2C2;
  hi2c2.Init.Timing = 0x10909CEC;
  hi2c2.Init.OwnAddress1 = 0;
  hi2c2.Init.AddressingMode = I2C_ADDRESSINGMODE_7BIT;
  hi2c2.Init.DualAddressMode = I2C_DUALADDRESS_DISABLE;
  hi2c2.Init.OwnAddress2 = 0;
  hi2c2.Init.OwnAddress2Masks = I2C_OA2_NOMASK;
  hi2c2.Init.GeneralCallMode = I2C_GENERALCALL_DISABLE;
  hi2c2.Init.NoStretchMode = I2C_NOSTRETCH_DISABLE;
  if (HAL_I2C_Init(&hi2c2) != HAL_OK)
  {
    Error_Handler();
  }
  /** Configure Analogue filter
  */
  if (HAL_I2CEx_ConfigAnalogFilter(&hi2c2, I2C_ANALOGFILTER_ENABLE) != HAL_OK)
  {
    Error_Handler();
  }
  /** Configure Digital filter
  */
  if (HAL_I2CEx_ConfigDigitalFilter(&hi2c2, 0) != HAL_OK)
  {
    Error_Handler();
  }

}

static void MX_QUADSPI_Init(void)
{

  /* QUADSPI parameter configuration*/
  hqspi.Instance = QUADSPI;
  hqspi.Init.ClockPrescaler = 2;
  hqspi.Init.FifoThreshold = 4;
  hqspi.Init.SampleShifting = QSPI_SAMPLE_SHIFTING_HALFCYCLE;
  hqspi.Init.FlashSize = 23;
  hqspi.Init.ChipSelectHighTime = QSPI_CS_HIGH_TIME_1_CYCLE;
  hqspi.Init.ClockMode = QSPI_CLOCK_MODE_0;
  if (HAL_QSPI_Init(&hqspi) != HAL_OK)
  {
    Error_Handler();
  }

}

static void MX_SPI3_Init(void)
{

  /* SPI3 parameter configuration*/
  hspi3.Instance = SPI3;
  hspi3.Init.Mode = SPI_MODE_MASTER;
  hspi3.Init.Direction = SPI_DIRECTION_2LINES;
  hspi3.Init.DataSize = SPI_DATASIZE_4BIT;
  hspi3.Init.CLKPolarity = SPI_POLARITY_LOW;
  hspi3.Init.CLKPhase = SPI_PHASE_1EDGE;
  hspi3.Init.NSS = SPI_NSS_SOFT;
  hspi3.Init.BaudRatePrescaler = SPI_BAUDRATEPRESCALER_2;
  hspi3.Init.FirstBit = SPI_FIRSTBIT_MSB;
  hspi3.Init.TIMode = SPI_TIMODE_DISABLE;
  hspi3.Init.CRCCalculation = SPI_CRCCALCULATION_DISABLE;
  hspi3.Init.CRCPolynomial = 7;
  hspi3.Init.CRCLength = SPI_CRC_LENGTH_DATASIZE;
  hspi3.Init.NSSPMode = SPI_NSS_PULSE_ENABLE;
  if (HAL_SPI_Init(&hspi3) != HAL_OK)
  {
    Error_Handler();
  }

}

static void MX_USART1_UART_Init(void)
{

  huart1.Instance = USART1;
  huart1.Init.BaudRate = 115200;
  huart1.Init.WordLength = UART_WORDLENGTH_8B;
  huart1.Init.StopBits = UART_STOPBITS_1;
  huart1.Init.Parity = UART_PARITY_NONE;
  huart1.Init.Mode = UART_MODE_TX_RX;
  huart1.Init.HwFlowCtl = UART_HWCONTROL_NONE;
  huart1.Init.OverSampling = UART_OVERSAMPLING_16;
  huart1.Init.OneBitSampling = UART_ONE_BIT_SAMPLE_DISABLE;
  huart1.AdvancedInit.AdvFeatureInit = UART_ADVFEATURE_NO_INIT;
  if (HAL_UART_Init(&huart1) != HAL_OK)
  {
    Error_Handler();
  }

}

static void MX_USART3_UART_Init(void)
{

  huart3.Instance = USART3;
  huart3.Init.BaudRate = 115200;
  huart3.Init.WordLength = UART_WORDLENGTH_8B;
  huart3.Init.StopBits = UART_STOPBITS_1;
  huart3.Init.Parity = UART_PARITY_NONE;
  huart3.Init.Mode = UART_MODE_TX_RX;
  huart3.Init.HwFlowCtl = UART_HWCONTROL_NONE;
  huart3.Init.OverSampling = UART_OVERSAMPLING_16;
  huart3.Init.OneBitSampling = UART_ONE_BIT_SAMPLE_DISABLE;
  huart3.AdvancedInit.AdvFeatureInit = UART_ADVFEATURE_NO_INIT;
  if (HAL_UART_Init(&huart3) != HAL_OK)
  {
    Error_Handler();
  }

}

static void MX_USB_OTG_FS_PCD_Init(void)
{

  hpcd_USB_OTG_FS.Instance = USB_OTG_FS;
  hpcd_USB_OTG_FS.Init.dev_endpoints = 6;
  hpcd_USB_OTG_FS.Init.speed = PCD_SPEED_FULL;
  hpcd_USB_OTG_FS.Init.phy_itface = PCD_PHY_EMBEDDED;
  hpcd_USB_OTG_FS.Init.Sof_enable = DISABLE;
  hpcd_USB_OTG_FS.Init.low_power_enable = DISABLE;
  hpcd_USB_OTG_FS.Init.lpm_enable = DISABLE;
  hpcd_USB_OTG_FS.Init.battery_charging_enable = DISABLE;
  hpcd_USB_OTG_FS.Init.use_dedicated_ep1 = DISABLE;
  hpcd_USB_OTG_FS.Init.vbus_sensing_enable = DISABLE;
  if (HAL_PCD_Init(&hpcd_USB_OTG_FS) != HAL_OK)
  {
    Error_Handler();
  }

}

static void MX_DMA_Init(void)
{

  /* DMA controller clock enable */
  __HAL_RCC_DMA1_CLK_ENABLE();

  /* DMA interrupt init */
  /* DMA1_Channel4_IRQn interrupt configuration */
  HAL_NVIC_SetPriority(DMA1_Channel4_IRQn, 0, 0);
  HAL_NVIC_EnableIRQ(DMA1_Channel4_IRQn);
  /* DMA1_Channel5_IRQn interrupt configuration */
  HAL_NVIC_SetPriority(DMA1_Channel5_IRQn, 0, 0);
  HAL_NVIC_EnableIRQ(DMA1_Channel5_IRQn);

}

static void MX_GPIO_Init(void)
{
  GPIO_InitTypeDef GPIO_InitStruct = {0};

  /* GPIO Ports Clock Enable */
  __HAL_RCC_GPIOE_CLK_ENABLE();
  __HAL_RCC_GPIOC_CLK_ENABLE();
  __HAL_RCC_GPIOA_CLK_ENABLE();
  __HAL_RCC_GPIOB_CLK_ENABLE();
  __HAL_RCC_GPIOD_CLK_ENABLE();

  /*Configure GPIO pin Output Level */
  HAL_GPIO_WritePin(GPIOE, M24SR64_Y_RF_DISABLE_Pin|M24SR64_Y_GPO_Pin|ISM43362_RST_Pin, GPIO_PIN_RESET);

  /*Configure GPIO pin Output Level */
  HAL_GPIO_WritePin(GPIOA, ARD_D10_Pin|SPBTLE_RF_RST_Pin|ARD_D9_Pin, GPIO_PIN_RESET);

  /*Configure GPIO pin Output Level */
  HAL_GPIO_WritePin(GPIOB, ARD_D8_Pin|ISM43362_BOOT0_Pin|ISM43362_WAKEUP_Pin|LED2_Pin
                          |SPSGRF_915_SDN_Pin|ARD_D5_Pin, GPIO_PIN_RESET);

  /*Configure GPIO pin Output Level */
  HAL_GPIO_WritePin(GPIOD, USB_OTG_FS_PWR_EN_Pin|PMOD_RESET_Pin|STSAFE_A100_RESET_Pin, GPIO_PIN_RESET);

  /*Configure GPIO pin Output Level */
  HAL_GPIO_WritePin(SPBTLE_RF_SPI3_CSN_GPIO_Port, SPBTLE_RF_SPI3_CSN_Pin, GPIO_PIN_SET);

  /*Configure GPIO pin Output Level */
  HAL_GPIO_WritePin(GPIOC, VL53L0X_XSHUT_Pin|LED3_WIFI__LED4_BLE_Pin, GPIO_PIN_RESET);

  /*Configure GPIO pin Output Level */
  HAL_GPIO_WritePin(SPSGRF_915_SPI3_CSN_GPIO_Port, SPSGRF_915_SPI3_CSN_Pin, GPIO_PIN_SET);

  /*Configure GPIO pin Output Level */
  HAL_GPIO_WritePin(ISM43362_SPI3_CSN_GPIO_Port, ISM43362_SPI3_CSN_Pin, GPIO_PIN_SET);

  /*Configure GPIO pins : M24SR64_Y_RF_DISABLE_Pin M24SR64_Y_GPO_Pin ISM43362_RST_Pin ISM43362_SPI3_CSN_Pin */
  GPIO_InitStruct.Pin = M24SR64_Y_RF_DISABLE_Pin|M24SR64_Y_GPO_Pin|ISM43362_RST_Pin|ISM43362_SPI3_CSN_Pin;
  GPIO_InitStruct.Mode = GPIO_MODE_OUTPUT_PP;
  GPIO_InitStruct.Pull = GPIO_NOPULL;
  GPIO_InitStruct.Speed = GPIO_SPEED_FREQ_LOW;
  HAL_GPIO_Init(GPIOE, &GPIO_InitStruct);

  /*Configure GPIO pins : USB_OTG_FS_OVRCR_EXTI3_Pin SPSGRF_915_GPIO3_EXTI5_Pin SPBTLE_RF_IRQ_EXTI6_Pin ISM43362_DRDY_EXTI1_Pin */
  GPIO_InitStruct.Pin = USB_OTG_FS_OVRCR_EXTI3_Pin|SPSGRF_915_GPIO3_EXTI5_Pin|SPBTLE_RF_IRQ_EXTI6_Pin|ISM43362_DRDY_EXTI1_Pin;
  GPIO_InitStruct.Mode = GPIO_MODE_IT_RISING;
  GPIO_InitStruct.Pull = GPIO_NOPULL;
  HAL_GPIO_Init(GPIOE, &GPIO_InitStruct);

  /*Configure GPIO pin : BUTTON_EXTI13_Pin */
  GPIO_InitStruct.Pin = BUTTON_EXTI13_Pin;
  GPIO_InitStruct.Mode = GPIO_MODE_IT_FALLING;
  GPIO_InitStruct.Pull = GPIO_NOPULL;
  HAL_GPIO_Init(BUTTON_EXTI13_GPIO_Port, &GPIO_InitStruct);

  /*Configure GPIO pins : ARD_A5_Pin ARD_A4_Pin ARD_A3_Pin ARD_A2_Pin
                           ARD_A1_Pin ARD_A0_Pin */
  GPIO_InitStruct.Pin = ARD_A5_Pin|ARD_A4_Pin|ARD_A3_Pin|ARD_A2_Pin
                          |ARD_A1_Pin|ARD_A0_Pin;
  GPIO_InitStruct.Mode = GPIO_MODE_ANALOG_ADC_CONTROL;
  GPIO_InitStruct.Pull = GPIO_NOPULL;
  HAL_GPIO_Init(GPIOC, &GPIO_InitStruct);

  /*Configure GPIO pins : ARD_D1_Pin ARD_D0_Pin */
  GPIO_InitStruct.Pin = ARD_D1_Pin|ARD_D0_Pin;
  GPIO_InitStruct.Mode = GPIO_MODE_AF_PP;
  GPIO_InitStruct.Pull = GPIO_NOPULL;
  GPIO_InitStruct.Speed = GPIO_SPEED_FREQ_VERY_HIGH;
  GPIO_InitStruct.Alternate = GPIO_AF8_UART4;
  HAL_GPIO_Init(GPIOA, &GPIO_InitStruct);

  /*Configure GPIO pins : ARD_D10_Pin SPBTLE_RF_RST_Pin ARD_D9_Pin */
  GPIO_InitStruct.Pin = ARD_D10_Pin|SPBTLE_RF_RST_Pin|ARD_D9_Pin;
  GPIO_InitStruct.Mode = GPIO_MODE_OUTPUT_PP;
  GPIO_InitStruct.Pull = GPIO_NOPULL;
  GPIO_InitStruct.Speed = GPIO_SPEED_FREQ_LOW;
  HAL_GPIO_Init(GPIOA, &GPIO_InitStruct);

  /*Configure GPIO pin : ARD_D4_Pin */
  GPIO_InitStruct.Pin = ARD_D4_Pin;
  GPIO_InitStruct.Mode = GPIO_MODE_AF_PP;
  GPIO_InitStruct.Pull = GPIO_NOPULL;
  GPIO_InitStruct.Speed = GPIO_SPEED_FREQ_LOW;
  GPIO_InitStruct.Alternate = GPIO_AF1_TIM2;
  HAL_GPIO_Init(ARD_D4_GPIO_Port, &GPIO_InitStruct);

  /*Configure GPIO pin : ARD_D7_Pin */
  GPIO_InitStruct.Pin = ARD_D7_Pin;
  GPIO_InitStruct.Mode = GPIO_MODE_ANALOG_ADC_CONTROL;
  GPIO_InitStruct.Pull = GPIO_NOPULL;
  HAL_GPIO_Init(ARD_D7_GPIO_Port, &GPIO_InitStruct);

  /*Configure GPIO pins : ARD_D13_Pin ARD_D12_Pin ARD_D11_Pin */
  GPIO_InitStruct.Pin = ARD_D13_Pin|ARD_D12_Pin|ARD_D11_Pin;
  GPIO_InitStruct.Mode = GPIO_MODE_AF_PP;
  GPIO_InitStruct.Pull = GPIO_NOPULL;
  GPIO_InitStruct.Speed = GPIO_SPEED_FREQ_VERY_HIGH;
  GPIO_InitStruct.Alternate = GPIO_AF5_SPI1;
  HAL_GPIO_Init(GPIOA, &GPIO_InitStruct);

  /*Configure GPIO pin : ARD_D3_Pin */
  GPIO_InitStruct.Pin = ARD_D3_Pin;
  GPIO_InitStruct.Mode = GPIO_MODE_IT_RISING;
  GPIO_InitStruct.Pull = GPIO_NOPULL;
  HAL_GPIO_Init(ARD_D3_GPIO_Port, &GPIO_InitStruct);

  /*Configure GPIO pin : ARD_D6_Pin */
  GPIO_InitStruct.Pin = ARD_D6_Pin;
  GPIO_InitStruct.Mode = GPIO_MODE_ANALOG_ADC_CONTROL;
  GPIO_InitStruct.Pull = GPIO_NOPULL;
  HAL_GPIO_Init(ARD_D6_GPIO_Port, &GPIO_InitStruct);

  /*Configure GPIO pins : ARD_D8_Pin ISM43362_BOOT0_Pin ISM43362_WAKEUP_Pin LED2_Pin
                           SPSGRF_915_SDN_Pin ARD_D5_Pin SPSGRF_915_SPI3_CSN_Pin */
  GPIO_InitStruct.Pin = ARD_D8_Pin|ISM43362_BOOT0_Pin|ISM43362_WAKEUP_Pin|LED2_Pin
                          |SPSGRF_915_SDN_Pin|ARD_D5_Pin|SPSGRF_915_SPI3_CSN_Pin;
  GPIO_InitStruct.Mode = GPIO_MODE_OUTPUT_PP;
  GPIO_InitStruct.Pull = GPIO_NOPULL;
  GPIO_InitStruct.Speed = GPIO_SPEED_FREQ_LOW;
  HAL_GPIO_Init(GPIOB, &GPIO_InitStruct);

  /*Configure GPIO pins : LPS22HB_INT_DRDY_EXTI0_Pin LSM6DSL_INT1_EXTI11_Pin ARD_D2_Pin HTS221_DRDY_EXTI15_Pin
                           PMOD_IRQ_EXTI12_Pin */
  GPIO_InitStruct.Pin = LPS22HB_INT_DRDY_EXTI0_Pin|LSM6DSL_INT1_EXTI11_Pin|ARD_D2_Pin|HTS221_DRDY_EXTI15_Pin
                          |PMOD_IRQ_EXTI12_Pin;
  GPIO_InitStruct.Mode = GPIO_MODE_IT_RISING;
  GPIO_InitStruct.Pull = GPIO_NOPULL;
  HAL_GPIO_Init(GPIOD, &GPIO_InitStruct);

  /*Configure GPIO pins : USB_OTG_FS_PWR_EN_Pin SPBTLE_RF_SPI3_CSN_Pin PMOD_RESET_Pin STSAFE_A100_RESET_Pin */
  GPIO_InitStruct.Pin = USB_OTG_FS_PWR_EN_Pin|SPBTLE_RF_SPI3_CSN_Pin|PMOD_RESET_Pin|STSAFE_A100_RESET_Pin;
  GPIO_InitStruct.Mode = GPIO_MODE_OUTPUT_PP;
  GPIO_InitStruct.Pull = GPIO_NOPULL;
  GPIO_InitStruct.Speed = GPIO_SPEED_FREQ_LOW;
  HAL_GPIO_Init(GPIOD, &GPIO_InitStruct);

  /*Configure GPIO pins : VL53L0X_XSHUT_Pin LED3_WIFI__LED4_BLE_Pin */
  GPIO_InitStruct.Pin = VL53L0X_XSHUT_Pin|LED3_WIFI__LED4_BLE_Pin;
  GPIO_InitStruct.Mode = GPIO_MODE_OUTPUT_PP;
  GPIO_InitStruct.Pull = GPIO_NOPULL;
  GPIO_InitStruct.Speed = GPIO_SPEED_FREQ_LOW;
  HAL_GPIO_Init(GPIOC, &GPIO_InitStruct);

  /*Configure GPIO pins : VL53L0X_GPIO1_EXTI7_Pin LSM3MDL_DRDY_EXTI8_Pin */
  GPIO_InitStruct.Pin = VL53L0X_GPIO1_EXTI7_Pin|LSM3MDL_DRDY_EXTI8_Pin;
  GPIO_InitStruct.Mode = GPIO_MODE_IT_RISING;
  GPIO_InitStruct.Pull = GPIO_NOPULL;
  HAL_GPIO_Init(GPIOC, &GPIO_InitStruct);

  /*Configure GPIO pin : PMOD_SPI2_SCK_Pin */
  GPIO_InitStruct.Pin = PMOD_SPI2_SCK_Pin;
  GPIO_InitStruct.Mode = GPIO_MODE_AF_PP;
  GPIO_InitStruct.Pull = GPIO_NOPULL;
  GPIO_InitStruct.Speed = GPIO_SPEED_FREQ_VERY_HIGH;
  GPIO_InitStruct.Alternate = GPIO_AF5_SPI2;
  HAL_GPIO_Init(PMOD_SPI2_SCK_GPIO_Port, &GPIO_InitStruct);

  /*Configure GPIO pins : PMOD_UART2_CTS_Pin PMOD_UART2_RTS_Pin PMOD_UART2_TX_Pin PMOD_UART2_RX_Pin */
  GPIO_InitStruct.Pin = PMOD_UART2_CTS_Pin|PMOD_UART2_RTS_Pin|PMOD_UART2_TX_Pin|PMOD_UART2_RX_Pin;
  GPIO_InitStruct.Mode = GPIO_MODE_AF_PP;
  GPIO_InitStruct.Pull = GPIO_NOPULL;
  GPIO_InitStruct.Speed = GPIO_SPEED_FREQ_VERY_HIGH;
  GPIO_InitStruct.Alternate = GPIO_AF7_USART2;
  HAL_GPIO_Init(GPIOD, &GPIO_InitStruct);

  /*Configure GPIO pins : ARD_D15_Pin ARD_D14_Pin */
  GPIO_InitStruct.Pin = ARD_D15_Pin|ARD_D14_Pin;
  GPIO_InitStruct.Mode = GPIO_MODE_AF_OD;
  GPIO_InitStruct.Pull = GPIO_PULLUP;
  GPIO_InitStruct.Speed = GPIO_SPEED_FREQ_VERY_HIGH;
  GPIO_InitStruct.Alternate = GPIO_AF4_I2C1;
  HAL_GPIO_Init(GPIOB, &GPIO_InitStruct);

  /* EXTI interrupt init*/
  HAL_NVIC_SetPriority(EXTI9_5_IRQn, 0, 0);
  HAL_NVIC_EnableIRQ(EXTI9_5_IRQn);

  HAL_NVIC_SetPriority(EXTI15_10_IRQn, 0, 0);
  HAL_NVIC_EnableIRQ(EXTI15_10_IRQn);

}

void Error_Handler(void)
{
  __disable_irq();
  while (1)
  {
  }
}

/************************ (C) COPYRIGHT STMicroelectronics *****END OF FILE****/
